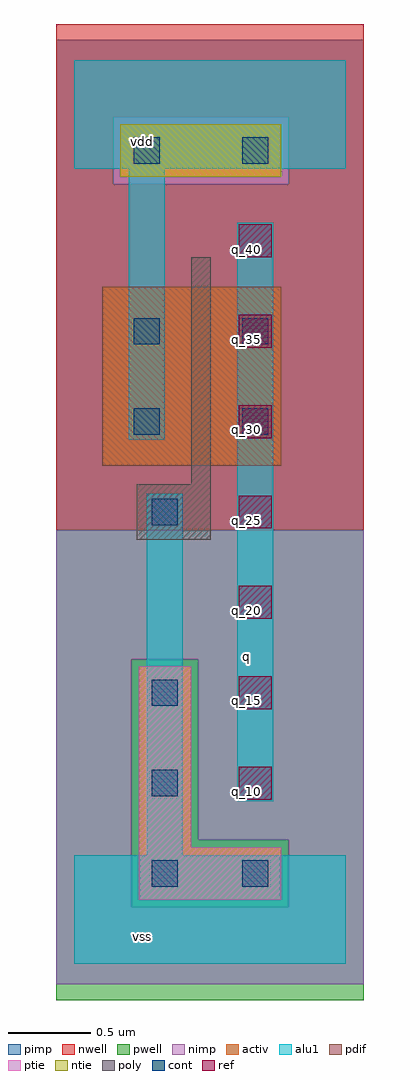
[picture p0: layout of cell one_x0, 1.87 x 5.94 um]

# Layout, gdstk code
import gdstk
lib = gdstk.Library(unit=1e-6, precision=2.5e-09)
def R(c, l, rs):  # rectangles x0, y0, x1, y1
    for r in rs: c.add(gdstk.rectangle(r[:2], r[2:], *l))
def A(c, l, x, y, w, h, nx, ny, dx, dy):  # array of equal rectangles
    R(c, l, [(x+i*dx, y+j*dy, x+i*dx+w, y+j*dy+h) for i in range(nx) for j in range(ny)])
pdif = (4, 0)
ntie = (5, 0)
ptie = (6, 0)
ref = (24, 0)
cont = (25, 0)
pwell = (41, 0)
nwell = (42, 0)
activ = (43, 0)
pimp = (44, 0)
nimp = (45, 0)
poly = (46, 0)
alu1 = (49, 0)

one_x0 = lib.new_cell('one_x0')
R(one_x0, pdif, [(0.17,3.03,1.26,4.12), (0.17,3.03,1.26,4.12)])
R(one_x0, ntie, [(0.28,4.79,1.26,5.11), (0.28,4.79,1.26,5.11)])
R(one_x0, ptie, [(0.39,0.39,1.26,0.71), (0.39,0.39,1.26,0.71), (0.39,0.71,0.71,1.81), (0.39,0.71,0.71,1.81)])
A(one_x0, ref, 1, 1, 0.2, 0.2, 1, 7, 0, 0.55)
A(one_x0, cont, 0.47, 0.47, 0.16, 0.16, 1, 3, 0, 0.55)
R(one_x0, cont, [(1.02,0.47,1.18,0.63), (0.47,2.67,0.63,2.83), (0.36,3.22,0.52,3.38), (1.02,3.22,1.18,3.38), (0.36,3.77,0.52,3.93), (1.02,3.77,1.18,3.93), (0.36,4.87,0.52,5.03), (1.02,4.87,1.18,5.03)])
R(one_x0, pwell, [(-0.11,-0.22,1.76,2.64)])
R(one_x0, nwell, [(-0.11,2.64,1.76,5.72)])
R(one_x0, activ, [(0.39,0.39,1.26,0.71), (0.39,0.39,1.26,0.71), (0.39,0.71,0.71,1.81), (0.39,0.71,0.71,1.81), (0.17,3.03,1.26,4.12), (0.17,3.03,1.26,4.12), (0.28,4.79,1.26,5.11), (0.28,4.79,1.26,5.11)])
R(one_x0, pimp, [(0.345,0.345,1.305,0.755), (0.345,0.755,0.755,1.855), (-0.11,2.64,1.76,4.745), (-0.11,4.745,0.235,5.155), (1.305,4.745,1.76,5.155), (-0.11,5.155,1.76,5.625)])
R(one_x0, nimp, [(-0.11,-0.125,1.76,0.345), (-0.11,0.345,0.345,1.855), (1.305,0.345,1.76,0.755), (0.755,0.755,1.76,1.855), (-0.11,1.855,1.76,2.64), (0.235,4.745,1.305,5.155)])
R(one_x0, poly, [(0.38,2.58,0.83,2.92), (0.71,2.92,0.83,4.3)])
R(one_x0, alu1, [(0,0,1.65,0.66), (0.44,0.66,0.66,2.86), (0.99,0.99,1.21,4.51), (0.33,3.19,0.55,4.84), (0,4.84,1.65,5.5)])
one_x0.add(gdstk.Label('vss', (0.4125,0.165), layer=49, texttype=0))
one_x0.add(gdstk.Label('q', (1.045,1.87), layer=49, texttype=0))
one_x0.add(gdstk.Label('vdd', (0.4125,5.005), layer=49, texttype=0))
one_x0.add(gdstk.Label('q_40', (1.05,4.35), layer=24, texttype=0))
one_x0.add(gdstk.Label('q_35', (1.05,3.8), layer=24, texttype=0))
one_x0.add(gdstk.Label('q_30', (1.05,3.25), layer=24, texttype=0))
one_x0.add(gdstk.Label('q_25', (1.05,2.7), layer=24, texttype=0))
one_x0.add(gdstk.Label('q_20', (1.05,2.15), layer=24, texttype=0))
one_x0.add(gdstk.Label('q_15', (1.05,1.6), layer=24, texttype=0))
one_x0.add(gdstk.Label('q_10', (1.05,1.05), layer=24, texttype=0))

lib.write_gds('one_x0.gds')
